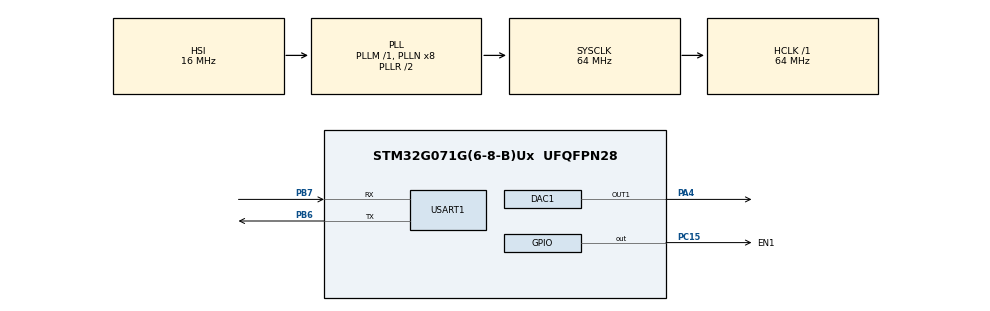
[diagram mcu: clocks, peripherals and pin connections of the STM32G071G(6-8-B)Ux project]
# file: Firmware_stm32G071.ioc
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DAC1.DAC_Channel-DAC_OUT1=DAC_CHANNEL_1
Mcu.Family=STM32G0
Mcu.Name=STM32G071G(6-8-B)Ux
Mcu.Package=UFQFPN28
NVIC.USART1_IRQn=true\:2\:0\:true\:false\:true\:true\:true\:true
PA13.Mode=Serial_Wire
PA13.Signal=SYS_SWDIO
PA14-BOOT0.Mode=Serial_Wire
PA14-BOOT0.Signal=SYS_SWCLK
PA4.Signal=COMP_DAC11_group
PB6.Mode=Asynchronous
PB6.Signal=USART1_TX
PB7.Mode=Asynchronous
PB7.Signal=USART1_RX
PC15-OSC32_OUT\ (PC15).GPIO_Label=EN1
PC15-OSC32_OUT\ (PC15).Signal=GPIO_Output
ProjectManager.HeapSize=0x200
ProjectManager.StackSize=0x400
ProjectManager.TargetToolchain=MDK-ARM V5.32
RCC.ADCFreq_Value=64000000
RCC.AHBFreq_Value=64000000
RCC.CortexFreq_Value=64000000
RCC.EXTERNAL_CLOCK_VALUE=48000
RCC.HCLKFreq_Value=64000000
RCC.HSE_VALUE=8000000
RCC.HSI_VALUE=16000000
RCC.LSE_VALUE=32768
RCC.SYSCLKFreq_VALUE=64000000
RCC.SYSCLKSource=RCC_SYSCLKSOURCE_PLLCLK
RCC.VCOOutputFreq_Value=128000000
SH.COMP_DAC11_group.0=DAC1_OUT1,DAC_OUT1
USART1.VirtualMode-Asynchronous=VM_ASYNC
VP_SYS_VS_DBSignals.Mode=DisableDeadBatterySignals
board=custom

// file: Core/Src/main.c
/* USER CODE BEGIN Header */
/**
  ******************************************************************************
  * @file           : main.c
  * @brief          : Main program body
  ******************************************************************************
  * @attention
  *
  * Copyright (c) 2022 STMicroelectronics.
  * All rights reserved.
  *
  * This software is licensed under terms that can be found in the LICENSE file
  * in the root directory of this software component.
  * If no LICENSE file comes with this software, it is provided AS-IS.
  *
  ******************************************************************************
  */
/* USER CODE END Header */
#include "main.h"
#include "dac.h"
#include "usart.h"
#include "gpio.h"

/* USER CODE BEGIN PD */

/*
需要示波器在线调整
Io=Vin/R10
Io=DAC_Value/4096*3300/10
DAC_Value=Io*12.4
*/
#define I_100uA  400
#define I_200uA  800
#define I_300uA  1200
#define I_400uA  1600
#define I_500uA  2000
/*需要示波器在线调整*/
#define W_1ms  5
#define W_2ms  10
#define W_3ms  15
#define W_4ms  20

#define F_2000ms 2000
#define F_1000ms 1000
#define F_500ms  500
#define F_333ms  333
/* USER CODE END PD */

/* USER CODE BEGIN PV */
uint8_t RXbyte;
uint8_t RXbuff[10];

uint16_t Iset[5]={I_100uA, I_200uA, I_300uA, I_400uA, I_500uA};
uint16_t Wset[4]={W_1ms, W_2ms, W_3ms, W_4ms};
uint16_t Fset[4]={F_2000ms, F_1000ms, F_500ms, F_333ms};
uint16_t Parm_I = 1200;
uint16_t Parm_W = 10;
uint16_t Parm_F = 1000;

/* USER CODE END PV */

void SystemClock_Config(void);

/* USER CODE BEGIN 0 */
void Time_200us(uint8_t time){
	for(uint8_t j=0;j<time;j++){
		for(uint32_t i=0;i<3200;i++);
	}
}

void Time_100us(void){
	for(uint32_t i=0;i<1000;i++);

}
/* USER CODE END 0 */

int main(void)
{

  /* MCU Configuration--------------------------------------------------------*/

  /* Reset of all peripherals, Initializes the Flash interface and the Systick. */
  HAL_Init();

  /* Configure the system clock */
  SystemClock_Config();

  /* Initialize all configured peripherals */
  MX_GPIO_Init();
  MX_USART1_UART_Init();
  MX_DAC1_Init();
  /* USER CODE BEGIN 2 */
	/* for BLE */
	HAL_UART_Receive_IT(&huart1,&RXbyte,1);
	/*打开CPC4051 LDO1电源*/
	HAL_Delay(10);
	for(uint8_t i=0;i<7;i++) {
		HAL_GPIO_WritePin(EN1_GPIO_Port, EN1_Pin, GPIO_PIN_SET);
		Time_200us(2);
		HAL_GPIO_WritePin(EN1_GPIO_Port, EN1_Pin, GPIO_PIN_RESET);
		Time_100us();
	}
	HAL_GPIO_WritePin(EN1_GPIO_Port, EN1_Pin, GPIO_PIN_SET);

	HAL_DAC_SetValue(&hdac1,DAC_CHANNEL_1,DAC_ALIGN_12B_R,0);
	HAL_DAC_Start(&hdac1,DAC_CHANNEL_1);
  /* USER CODE END 2 */

  /* Infinite loop */
  while (1)
  {

    /* USER CODE BEGIN 3 */
		HAL_DAC_SetValue(&hdac1,DAC_CHANNEL_1,DAC_ALIGN_12B_R,Parm_I);
		Time_200us(Parm_W);
		HAL_DAC_SetValue(&hdac1,DAC_CHANNEL_1,DAC_ALIGN_12B_R,0);
		HAL_Delay(Parm_F);

  }
  /* USER CODE END 3 */
}

void SystemClock_Config(void)
{
  RCC_OscInitTypeDef RCC_OscInitStruct = {0};
  RCC_ClkInitTypeDef RCC_ClkInitStruct = {0};

  /** Configure the main internal regulator output voltage
  */
  HAL_PWREx_ControlVoltageScaling(PWR_REGULATOR_VOLTAGE_SCALE1);

  /** Initializes the RCC Oscillators according to the specified parameters
  * in the RCC_OscInitTypeDef structure.
  */
  RCC_OscInitStruct.OscillatorType = RCC_OSCILLATORTYPE_HSI;
  RCC_OscInitStruct.HSIState = RCC_HSI_ON;
  RCC_OscInitStruct.HSIDiv = RCC_HSI_DIV1;
  RCC_OscInitStruct.HSICalibrationValue = RCC_HSICALIBRATION_DEFAULT;
  RCC_OscInitStruct.PLL.PLLState = RCC_PLL_ON;
  RCC_OscInitStruct.PLL.PLLSource = RCC_PLLSOURCE_HSI;
  RCC_OscInitStruct.PLL.PLLM = RCC_PLLM_DIV1;
  RCC_OscInitStruct.PLL.PLLN = 8;
  RCC_OscInitStruct.PLL.PLLP = RCC_PLLP_DIV2;
  RCC_OscInitStruct.PLL.PLLQ = RCC_PLLQ_DIV2;
  RCC_OscInitStruct.PLL.PLLR = RCC_PLLR_DIV2;
  if (HAL_RCC_OscConfig(&RCC_OscInitStruct) != HAL_OK)
  {
    Error_Handler();
  }

  /** Initializes the CPU, AHB and APB buses clocks
  */
  RCC_ClkInitStruct.ClockType = RCC_CLOCKTYPE_HCLK|RCC_CLOCKTYPE_SYSCLK
                              |RCC_CLOCKTYPE_PCLK1;
  RCC_ClkInitStruct.SYSCLKSource = RCC_SYSCLKSOURCE_PLLCLK;
  RCC_ClkInitStruct.AHBCLKDivider = RCC_SYSCLK_DIV1;
  RCC_ClkInitStruct.APB1CLKDivider = RCC_HCLK_DIV1;

  if (HAL_RCC_ClockConfig(&RCC_ClkInitStruct, FLASH_LATENCY_2) != HAL_OK)
  {
    Error_Handler();
  }
}

/* USER CODE BEGIN 4 */
/*中断接收蓝牙串口指令*/

uint8_t Buff_index = 0;
void HAL_UART_RxCpltCallback(UART_HandleTypeDef *huart)
{
	if(huart->Instance == USART1) {
		switch(RXbyte) {
			case 'T':
				if((Buff_index == 3) &&
					 ((RXbuff[0]<'6') && (RXbuff[0]>'0')) &&
					 ((RXbuff[1]<'5') && (RXbuff[1]>'0')) &&
					 ((RXbuff[2]<'5') && (RXbuff[2]>'0'))
					) {
							Parm_I = Iset[RXbuff[0]-49];
							Parm_W = Wset[RXbuff[1]-49];
							Parm_F = Fset[RXbuff[2]-49];
							printf("I=%duA,W=%dms,F=%dms\n", Parm_I, Parm_W/2, Parm_F);

				}
				else {

				}
				Buff_index = 0;
				break;
			default:
				RXbuff[Buff_index] = RXbyte;
				Buff_index++;
				break;
		}

		HAL_UART_Receive_IT(&huart1,&RXbyte,1);
	}
}
/* USER CODE END 4 */

void Error_Handler(void)
{
  __disable_irq();
  while (1)
  {
  }
}
